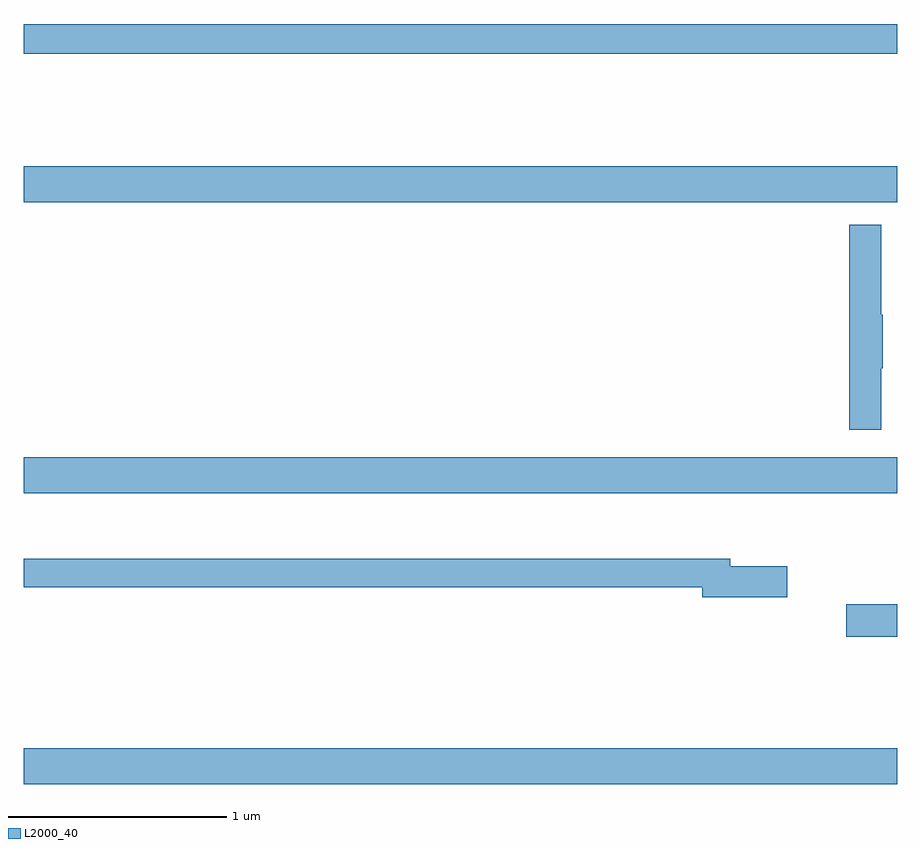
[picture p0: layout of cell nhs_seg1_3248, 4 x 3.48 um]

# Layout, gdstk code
import gdstk
lib = gdstk.Library(unit=1e-6, precision=1e-09)
def R(c, l, rs):  # rectangles x0, y0, x1, y1
    for r in rs: c.add(gdstk.rectangle(r[:2], r[2:], *l))
def A(c, l, x, y, w, h, nx, ny, dx, dy):  # array of equal rectangles
    R(c, l, [(x+i*dx, y+j*dy, x+i*dx+w, y+j*dy+h) for i in range(nx) for j in range(ny)])
def P(c, l, *ps):  # polygons
    for p in ps: c.add(gdstk.Polygon(p, *l))
L2000_40 = (2000, 40)

nhs_seg1_3248 = lib.new_cell('nhs_seg1_3248')
A(nhs_seg1_3248, L2000_40, 287, 530.42, 4, 0.164, 1, 3, 0, 1.332)
R(nhs_seg1_3248, L2000_40, [(290.766,531.095,291,531.242), (287,533.764,291,533.9)])
P(nhs_seg1_3248, L2000_40, [(290.926,532.324),(290.934,532.324),(290.934,532.568),(290.926,532.568),(290.926,532.981),(290.78,532.981),(290.78,532.041),(290.926,532.041)],
  [(290.497,531.417),(290.236,531.417),(290.236,531.451),(287,531.451),(287,531.322),(290.108,531.322),(290.108,531.275),(290.497,531.275)])

lib.write_gds('nhs_seg1_3248.gds')
